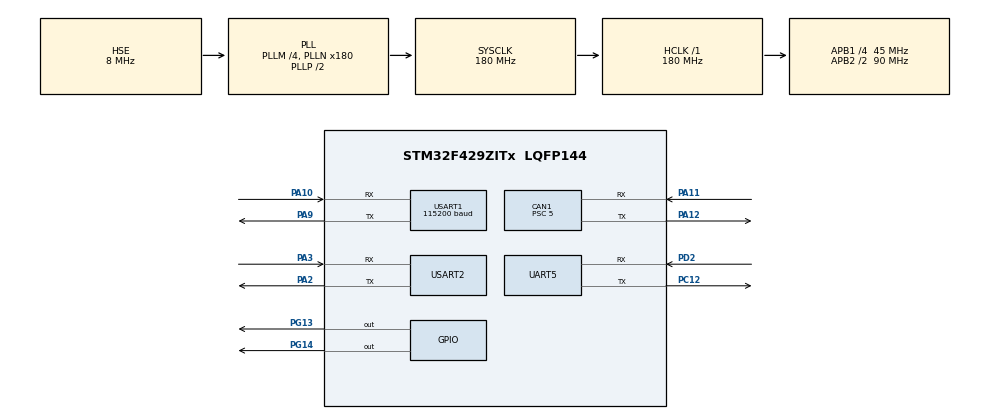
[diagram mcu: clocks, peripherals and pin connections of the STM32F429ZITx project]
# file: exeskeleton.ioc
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CAN1.BS1=CAN_BS1_6TQ
CAN1.BS2=CAN_BS2_2TQ
CAN1.CalculateBaudRate=1000000
CAN1.CalculateTimeBit=1000
CAN1.CalculateTimeQuantum=111.11111111111111
CAN1.Prescaler=5
CAN1.SJW=CAN_SJW_1TQ
Mcu.Family=STM32F4
Mcu.Name=STM32F429ZITx
Mcu.Package=LQFP144
NVIC.CAN1_RX0_IRQn=true\:0\:0\:false\:false\:true\:true\:true\:true
NVIC.PriorityGroup=NVIC_PRIORITYGROUP_4
NVIC.USART1_IRQn=true\:0\:0\:false\:false\:true\:true\:true\:true
NVIC.USART2_IRQn=true\:0\:0\:false\:false\:true\:true\:true\:true
PA10.Mode=Asynchronous
PA10.Signal=USART1_RX
PA11.Mode=CAN_Activate
PA11.Signal=CAN1_RX
PA12.Mode=CAN_Activate
PA12.Signal=CAN1_TX
PA2.Mode=Asynchronous
PA2.Signal=USART2_TX
PA3.Mode=Asynchronous
PA3.Signal=USART2_RX
PA9.Mode=Asynchronous
PA9.Signal=USART1_TX
PC12.Mode=Asynchronous
PC12.Signal=UART5_TX
PD2.Mode=Asynchronous
PD2.Signal=UART5_RX
PG13.Signal=GPIO_Output
PG14.Signal=GPIO_Output
PH0/OSC_IN.Mode=HSE-External-Oscillator
PH0/OSC_IN.Signal=RCC_OSC_IN
PH1/OSC_OUT.Mode=HSE-External-Oscillator
PH1/OSC_OUT.Signal=RCC_OSC_OUT
ProjectManager.HeapSize=0x200
ProjectManager.StackSize=0x400
ProjectManager.TargetToolchain=EWARM V8.50
RCC.48MHZClocksFreq_Value=90000000
RCC.AHBFreq_Value=180000000
RCC.APB1CLKDivider=RCC_HCLK_DIV4
RCC.APB1Freq_Value=45000000
RCC.APB1TimFreq_Value=90000000
RCC.APB2CLKDivider=RCC_HCLK_DIV2
RCC.APB2Freq_Value=90000000
RCC.APB2TimFreq_Value=180000000
RCC.CortexFreq_Value=180000000
RCC.HCLKFreq_Value=180000000
RCC.HSE_VALUE=8000000
RCC.HSI_VALUE=16000000
RCC.LSE_VALUE=32768
RCC.PLLM=4
RCC.PLLN=180
RCC.PLLSAIDivR=RCC_PLLSAIDIVR_16
RCC.PLLSAIN=192
RCC.PLLSAIR=4
RCC.PLLSourceVirtual=RCC_PLLSOURCE_HSE
RCC.SYSCLKFreq_VALUE=180000000
RCC.SYSCLKSource=RCC_SYSCLKSOURCE_PLLCLK
RCC.VCOOutputFreq_Value=360000000
UART5.VirtualMode=Asynchronous
USART1.BaudRate=115200
USART1.VirtualMode=VM_ASYNC
USART2.VirtualMode=VM_ASYNC
board=custom

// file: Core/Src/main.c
/* USER CODE BEGIN Header */
/**
 ******************************************************************************
 * @file           : main.c
 * @brief          : Main program body
 ******************************************************************************
 * @attention
 *
 * Copyright (c) 2024 STMicroelectronics.
 * All rights reserved.
 *
 * This software is licensed under terms that can be found in the LICENSE file
 * in the root directory of this software component.
 * If no LICENSE file comes with this software, it is provided AS-IS.
 *
 ******************************************************************************
 */
/* USER CODE END Header */
#include "main.h"
#include "can.h"
#include "usart.h"
#include "gpio.h"

/* USER CODE BEGIN Includes */

#include "can_handler.h"
#include "AK80_64_driver.h"

#include <stdio.h>
#include <string.h>

/* USER CODE END Includes */

void SystemClock_Config(void);

/* USER CODE BEGIN 0 */

CanHandler motor1;
uint8_t can_id = 0;

uint8_t serial_received_data[23];

union
{
  uint8_t char_array[4];
  float float_value;
} char_array_to_float;

/* USER CODE END 0 */

int main(void)
{

  /* MCU Configuration--------------------------------------------------------*/

  /* Reset of all peripherals, Initializes the Flash interface and the Systick. */
  HAL_Init();

  /* Configure the system clock */
  SystemClock_Config();

  /* Initialize all configured peripherals */
  MX_GPIO_Init();
  MX_USART1_UART_Init();
  MX_CAN1_Init();
  MX_USART2_UART_Init();
  MX_UART5_Init();

  /* Infinite loop */
  /* USER CODE BEGIN WHILE */

  initCanHandler(&motor1, 8, can_id, CAN_ID_STD, CAN_RTR_DATA, can_id, DISABLE);
  HAL_CAN_Start(&hcan1);

  if (HAL_CAN_ActivateNotification(&hcan1, CAN_IT_RX_FIFO0_MSG_PENDING) != HAL_OK)
  {
    Error_Handler();
  }

  HAL_UART_Receive_IT(&huart2, serial_received_data, 23);

  while (1)
  {
    HAL_GPIO_TogglePin(GPIOG, GPIO_PIN_14);

    /* USER CODE END WHILE */

  }
}

void SystemClock_Config(void)
{
  RCC_OscInitTypeDef RCC_OscInitStruct = {0};
  RCC_ClkInitTypeDef RCC_ClkInitStruct = {0};

  /** Configure the main internal regulator output voltage
  */
  __HAL_RCC_PWR_CLK_ENABLE();
  __HAL_PWR_VOLTAGESCALING_CONFIG(PWR_REGULATOR_VOLTAGE_SCALE1);

  /** Initializes the RCC Oscillators according to the specified parameters
  * in the RCC_OscInitTypeDef structure.
  */
  RCC_OscInitStruct.OscillatorType = RCC_OSCILLATORTYPE_HSE;
  RCC_OscInitStruct.HSEState = RCC_HSE_ON;
  RCC_OscInitStruct.PLL.PLLState = RCC_PLL_ON;
  RCC_OscInitStruct.PLL.PLLSource = RCC_PLLSOURCE_HSE;
  RCC_OscInitStruct.PLL.PLLM = 4;
  RCC_OscInitStruct.PLL.PLLN = 180;
  RCC_OscInitStruct.PLL.PLLP = RCC_PLLP_DIV2;
  RCC_OscInitStruct.PLL.PLLQ = 4;
  if (HAL_RCC_OscConfig(&RCC_OscInitStruct) != HAL_OK)
  {
    Error_Handler();
  }

  /** Activate the Over-Drive mode
  */
  if (HAL_PWREx_EnableOverDrive() != HAL_OK)
  {
    Error_Handler();
  }

  /** Initializes the CPU, AHB and APB buses clocks
  */
  RCC_ClkInitStruct.ClockType = RCC_CLOCKTYPE_HCLK|RCC_CLOCKTYPE_SYSCLK
                              |RCC_CLOCKTYPE_PCLK1|RCC_CLOCKTYPE_PCLK2;
  RCC_ClkInitStruct.SYSCLKSource = RCC_SYSCLKSOURCE_PLLCLK;
  RCC_ClkInitStruct.AHBCLKDivider = RCC_SYSCLK_DIV1;
  RCC_ClkInitStruct.APB1CLKDivider = RCC_HCLK_DIV4;
  RCC_ClkInitStruct.APB2CLKDivider = RCC_HCLK_DIV2;

  if (HAL_RCC_ClockConfig(&RCC_ClkInitStruct, FLASH_LATENCY_5) != HAL_OK)
  {
    Error_Handler();
  }
}

/* USER CODE BEGIN 4 */

void HAL_UART_RxCpltCallback(UART_HandleTypeDef *huart)
{
  if (huart->Instance == USART2)
  {
    can_id = serial_received_data[0];
    char msg[20];
    sprintf(msg, "Can id: %d\r\n", can_id);
    HAL_UART_Transmit(&huart1, msg, 20, HAL_MAX_DELAY);

    float p_des, v_des, kp, kd, t_ff;

    // if serial_received_data[1] == 0x01 this means that motor is running
    if (serial_received_data[1] == 0x02)
    {
      int i = 2;
      int start = i;

      for (; i < start + 4; i++)
        char_array_to_float.char_array[i - start] = serial_received_data[i];
      start = i;
      p_des = char_array_to_float.float_value;

      for (; i < start + 4; i++)
        char_array_to_float.char_array[i - start] = serial_received_data[i];
      start = i;
      v_des = char_array_to_float.float_value;

      for (; i < start + 4; i++)
        char_array_to_float.char_array[i - start] = serial_received_data[i];
      start = i;
      kp = char_array_to_float.float_value;

      for (; i < start + 4; i++)
        char_array_to_float.char_array[i - start] = serial_received_data[i];
      start = i;
      kd = char_array_to_float.float_value;

      for (; i < start + 4; i++)
        char_array_to_float.char_array[i - start] = serial_received_data[i];
      start = i;
      t_ff = char_array_to_float.float_value;

      // char msg[64];
      // sprintf((char*)msg, "p: %d\n\r", p_des);
      // HAL_UART_Transmit(&huart1, (uint8_t*)msg, strlen(msg), 1000);

      uint8_t frame[8];
      set_motor_possition(frame, p_des, v_des, kp, kd, t_ff);
      sendCanFrame(&hcan1, can_id, &motor1, frame);

      // set_motor_possition(frame, 0.0f, 6.28f, 0.0f, 0.5f, 0.0f);
      // sendCanFrame(&hcan1, &motor1, frame);
    }
    else if (serial_received_data[1] == 0x01) // start motor
      startEngine(&hcan1, &motor1);
    else if (serial_received_data[1] == 0x00) // stop motor
      stopEngine(&hcan1, &motor1);

    HAL_UART_Receive_IT(&huart2, serial_received_data, 23);
  }
}

void HAL_CAN_RxFifo0MsgPendingCallback(CAN_HandleTypeDef *hcan)
{
  receiveCanFrame(hcan, &motor1);

  char msg[64];
  sprintf((char*)msg, "Received CAN id: %d, %d, %d, %d, %d, %d, %d, %d\r\n", motor1.rxData[0], motor1.rxData[1], motor1.rxData[2], motor1.rxData[3], motor1.rxData[4], motor1.rxData[5], motor1.rxData[6], motor1.rxData[7]);
  HAL_UART_Transmit(&huart1, (char*)msg, 64, HAL_MAX_DELAY);

  HAL_UART_Transmit(&huart5, motor1.rxData, 8, HAL_MAX_DELAY);
}

/* USER CODE END 4 */

void Error_Handler(void)
{
  __disable_irq();
  while (1)
  {
  }
}
